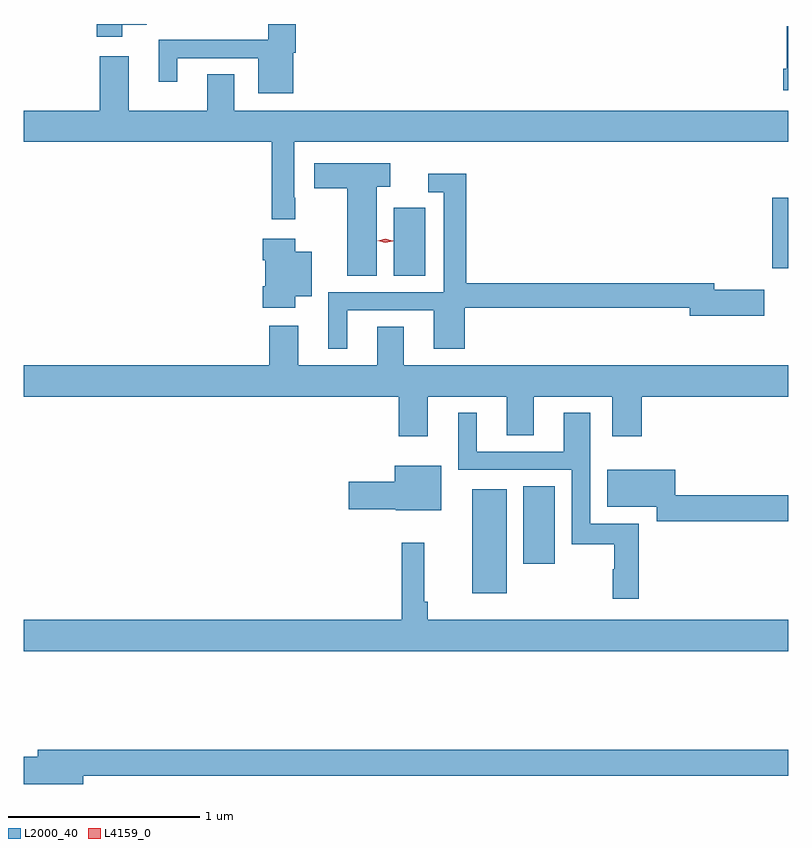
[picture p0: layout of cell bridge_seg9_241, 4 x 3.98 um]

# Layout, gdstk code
import gdstk
lib = gdstk.Library(unit=1e-6, precision=1e-09)
def R(c, l, rs):  # rectangles x0, y0, x1, y1
    for r in rs: c.add(gdstk.rectangle(r[:2], r[2:], *l))
def P(c, l, *ps):  # polygons
    for p in ps: c.add(gdstk.Polygon(p, *l))
L2000_40 = (2000, 40)
L4159_0 = (4159, 0)

bridge_seg9_241 = lib.new_cell('bridge_seg9_241')
R(bridge_seg9_241, L2000_40, [(338.699,1170.083,338.878,1170.628), (338.966,1170.237,339.13,1170.644), (338.288,1171.744,338.452,1172.101), (340.268,1171.784,340.352,1172.152)])
P(bridge_seg9_241, L2000_40, [(336.868,1173.056),(336.997,1173.056),(336.997,1173.061),(336.734,1173.061),(336.734,1172.994),(336.868,1172.994)],
  [(337.762,1172.91),(337.775,1172.91),(337.775,1173.061),(337.632,1173.061),(337.632,1172.979),(337.058,1172.979),(337.058,1172.76),(337.156,1172.76),(337.156,1172.883),(337.58,1172.883),(337.58,1172.699),(337.762,1172.699)],
  [(340.352,1173.049),(340.344,1173.049),(340.344,1172.827),(340.324,1172.827),(340.324,1172.715),(340.352,1172.715)],
  [(337.772,1172.152),(337.767,1172.152),(337.767,1172.444),(340.352,1172.444),(340.352,1172.608),(337.453,1172.608),(337.453,1172.798),(337.313,1172.798),(337.313,1172.608),(336.901,1172.608),(336.901,1172.893),(336.749,1172.893),(336.749,1172.608),(336.352,1172.608),(336.352,1172.444),(337.651,1172.444),(337.651,1172.04),(337.772,1172.04)],
  [(338.2,1172.21),(338.269,1172.21),(338.269,1172.332),(337.872,1172.332),(337.872,1172.203),(338.045,1172.203),(338.045,1171.744),(338.2,1171.744)],
  [(338.044,1171.563),(338.498,1171.563),(338.498,1171.362),(338.66,1171.362),(338.66,1171.578),(339.836,1171.578),(339.836,1171.535),(340.225,1171.535),(340.225,1171.67),(339.964,1171.67),(339.964,1171.706),(338.666,1171.706),(338.666,1172.278),(338.469,1172.278),(338.469,1172.181),(338.55,1172.181),(338.55,1171.659),(337.946,1171.659),(337.946,1171.362),(338.044,1171.362)],
  [(337.774,1171.637),(337.858,1171.637),(337.858,1171.87),(337.774,1171.87),(337.774,1171.939),(337.604,1171.939),(337.604,1171.826),(337.616,1171.826),(337.616,1171.69),(337.604,1171.69),(337.604,1171.578),(337.774,1171.578)],
  [(338.341,1171.478),(338.201,1171.478),(338.201,1171.276),(337.789,1171.276),(337.789,1171.483),(337.637,1171.483),(337.637,1171.276),(336.352,1171.276),(336.352,1171.112),(338.315,1171.112),(338.315,1170.906),(338.467,1170.906),(338.467,1171.112),(338.879,1171.112),(338.879,1170.91),(339.019,1170.91),(339.019,1171.112),(339.431,1171.112),(339.431,1170.906),(339.584,1170.906),(339.584,1171.112),(340.352,1171.112),(340.352,1171.276),(338.341,1171.276)],
  [(339.569,1170.447),(339.315,1170.447),(339.315,1171.027),(339.176,1171.027),(339.176,1170.825),(338.722,1170.825),(338.722,1171.027),(338.624,1171.027),(338.624,1170.729),(339.219,1170.729),(339.219,1170.339),(339.441,1170.339),(339.441,1170.21),(339.433,1170.21),(339.433,1170.054),(339.569,1170.054)],
  [(338.536,1170.751),(338.294,1170.751),(338.294,1170.666),(338.052,1170.666),(338.052,1170.524),(338.298,1170.524),(338.298,1170.518),(338.536,1170.518)],
  [(340.352,1170.596),(339.759,1170.596),(339.759,1170.73),(339.404,1170.73),(339.404,1170.536),(339.663,1170.536),(339.663,1170.46),(340.352,1170.46)],
  [(340.352,1169.944),(338.465,1169.944),(338.465,1170.04),(338.448,1170.04),(338.448,1170.349),(338.329,1170.349),(338.329,1169.944),(336.352,1169.944),(336.352,1169.78),(340.352,1169.78)],
  [(336.664,1169.128),(340.352,1169.128),(340.352,1169.264),(336.425,1169.264),(336.425,1169.228),(336.352,1169.228),(336.352,1169.086),(336.664,1169.086)])
P(bridge_seg9_241, L4159_0, [(338.244,1171.917),(338.204,1171.927),(338.204,1171.928),(338.204,1171.928),(338.244,1171.937),(338.284,1171.927),(338.285,1171.927),(338.284,1171.926)])

lib.write_gds('bridge_seg9_241.gds')
